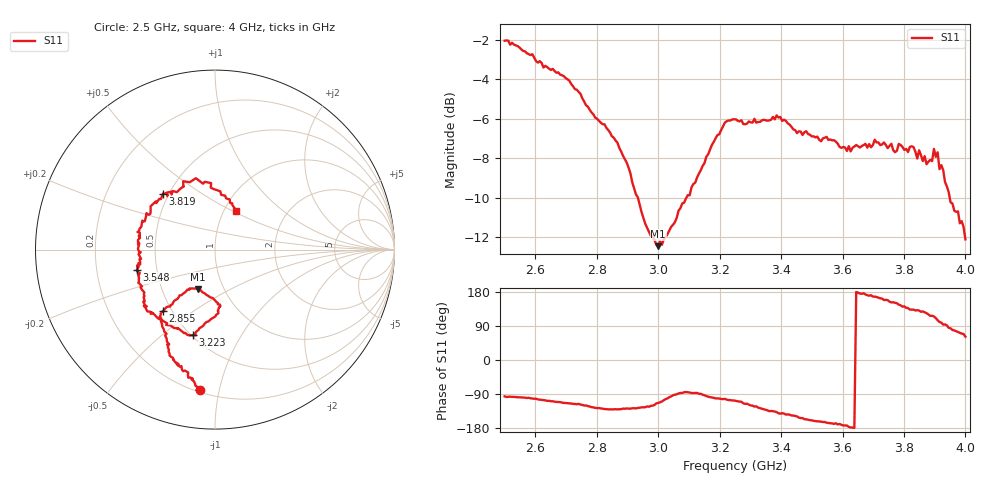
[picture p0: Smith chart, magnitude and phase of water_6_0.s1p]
# MHz S MA R 50
!  freq  S11
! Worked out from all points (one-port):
!   250 points, 2.5 GHz to 4 GHz, reference 50 ohm
!   lowest |S11| = -12.5 dB at 3 GHz (marker M1), VSWR 1.63, Z = 37.9 - j17.6 ohm
!   |S11| at or under -10 dB: 2.934 GHz to 3.092 GHz (158.1 MHz wide, 5.25 % of centre); 3.949 GHz to end of sweep
!   S11 on the Smith chart (normalised r, x): 2.5 GHz: 0.21, -0.88; 2.855 GHz: 0.45, -0.38; 3.223 GHz: 0.51, -0.64; 3.548 GHz: 0.38, -0.11; 3.819 GHz: 0.47, +0.35; 4 GHz: 1.14, +0.53
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2500  0.789 -96.1
2578.313  0.7299 -99.7
2692.771  0.6418 -113.2
2740.964  0.5855 -115.8
2795.181  0.5036 -126.4
2855.422  0.4482 -130.2
2879.518  0.4133 -129.7
2957.831  0.2714 -124.6
3000  0.2382 -113.3
3066.265  0.2929 -88.3
3126.506  0.3555 -87.0
3222.892  0.4933 -104.5
3253.012  0.4989 -108.0
3397.59  0.5059 -141.7
3439.759  0.4706 -146.6
3548.193  0.4504 -165.3
3578.313  0.4381 -166.9
3626.506  0.4139 -178.1
3704.819  0.443 167.2
3813.253  0.4123 137.0
3819.277  0.4248 133.1
3861.446  0.3911 128.2
3891.566  0.3911 116.9
3897.59  0.4199 114.9
3909.639  0.4117 105.0
3915.663  0.3731 100.2
3945.783  0.326 84.8
4000  0.2478 61.5
